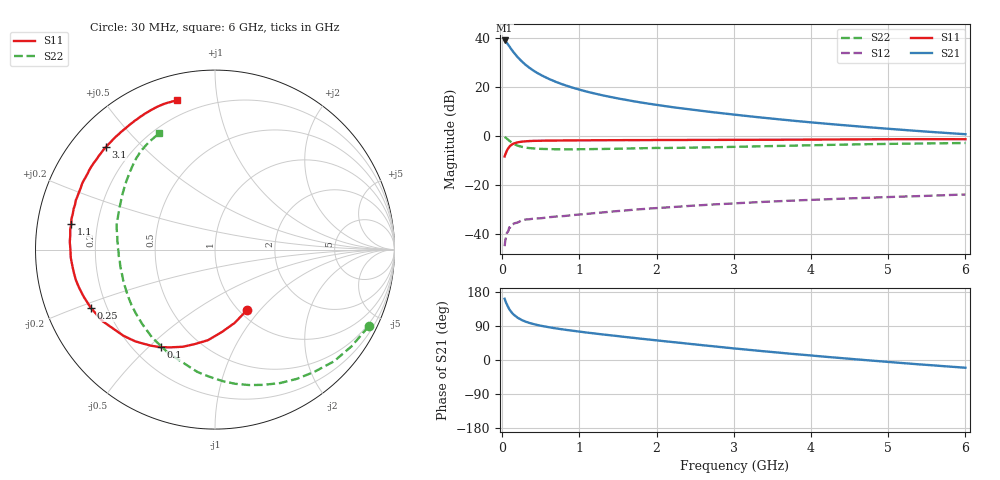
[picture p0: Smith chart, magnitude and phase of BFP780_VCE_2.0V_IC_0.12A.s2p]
! Infineon Technologies  Discrete & RF Semiconductors
! BFP780
! VCE =  2.0 V,  IC = 0.12 A
! Common Emitter S-Parameters:  Jul 2015
# GHz  S  MA  R  50
!  f  S11  S21  S12  S22
! GHz  MAG  ANG  MAG  ANG  MAG  ANG  MAG  ANG
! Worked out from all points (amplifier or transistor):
!   75 points, 30 MHz to 6 GHz, reference 50 ohm
!   highest |S21| = 38.9 dB at 30 MHz (marker M1)
!   |S21| within 3 dB of that: start of sweep to 104.4 MHz
!   unconditionally stable (mu >= 1): 1.653 GHz to end of sweep
!   at 150 MHz: K = 0.17, MSG = 34.8 dB, |S12| = -35.7 dB
!   at 2.3 GHz: K = 1.14, MAG = 17.8 dB, |S12| = -28.8 dB
!   at 6 GHz: K = 1.35, MAG = 8.7 dB, |S12| = -23.8 dB
!   S11 on the Smith chart (normalised r, x): 30 MHz: 1.08, -0.85; 100 MHz: 0.31, -0.55; 250 MHz: 0.14, -0.22; 1.1 GHz: 0.10, +0.09; 3.1 GHz: 0.10, +0.39; 6 GHz: 0.12, +0.77
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0.03  0.3816 -62.4  87.92 161.7  0.0057 72.2  0.9567 -26.6
0.05  0.4601 -85.1  81.66 150.9  0.0089 67.8  0.9093 -43.2
0.06  0.5061 -94.4  78.2 146.4  0.0107 55.9  0.8777 -50.9
0.07  0.5365 -101.7  74.49 142.0  0.0111 56.1  0.8522 -57.7
0.08  0.5697 -108.2  70.83 138.1  0.0118 52.4  0.8274 -64.0
0.1  0.6224 -119.1  63.67 131.4  0.0136 45.6  0.7788 -75.7
0.12  0.6608 -127.7  57.46 125.8  0.0155 43.2  0.7369 -86.0
0.15  0.7009 -136.9  49.73 119.4  0.0165 39.2  0.6876 -98.4
0.2  0.7426 -147.5  40 111.4  0.0173 32.6  0.6332 -114.1
0.25  0.7641 -154.8  33.26 105.7  0.019 29.0  0.6027 -125.5
0.3  0.777 -160.2  28.22 101.4  0.0199 27.2  0.5797 -134.4
0.35  0.7866 -164.4  24.48 97.9  0.0201 27.0  0.5664 -141.2
0.5  0.7991 -172.8  17.42 90.4  0.0211 25.4  0.5451 -155.0
0.7  0.8055 179.9  12.51 83.2  0.0229 26.4  0.5355 -166.1
0.9  0.8103 174.4  9.734 77.5  0.0243 27.2  0.5344 -173.4
1.1  0.8135 169.9  7.944 72.3  0.0259 28.1  0.5379 -179.1
1.5  0.819 162.3  5.798 63.0  0.0296 30.2  0.549 172.6
2.1  0.8266 152.2  4.07 49.6  0.0348 29.5  0.5679 163.1
3.1  0.8341 136.8  2.616 28.7  0.0432 26.8  0.6041 148.0
4.1  0.8439 123.1  1.832 10.1  0.0506 21.7  0.6504 135.6
5.1  0.8584 112.1  1.363 -6.7  0.0577 16.2  0.6918 125.0
6  0.858 104.2  1.084 -20.5  0.0642 10.7  0.7183 115.6
